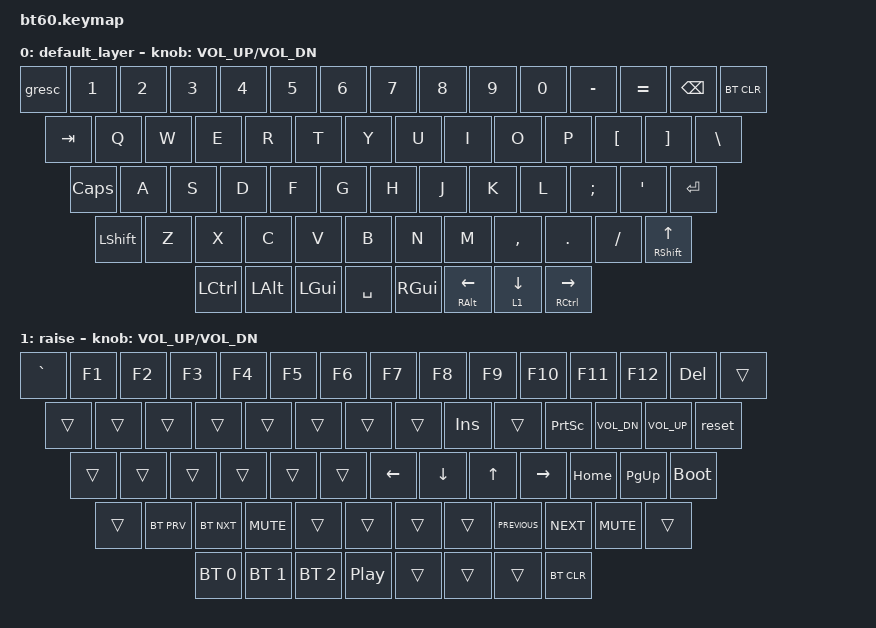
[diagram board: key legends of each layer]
#include <behaviors.dtsi>
#include <dt-bindings/zmk/keys.h>
#include <dt-bindings/zmk/bt.h>

/ {
	keymap {
		compatible = "zmk,keymap";

		default_layer {
				// ------------------------------------------------------------------------------------------
				// | ESC |  1  |  2  |  3  |  4  |  5  |  6  |  7  |  8  |  9  |  0  |  -  |  =  |   BKSP   | DEL
				// | TAB  |  Q  |  W  |  E  |  R  |  T  |  Y  |  U  |  I  |  O  |  P  |  [  |  ]  |   |    |
				// | CAPS  |  A  |  S  |  D  |  F  |  G  |  H  |  J  |  K  |  L  |  ;  |  '  |     ENTER    |
				// |  SHIFT    |  Z  |  X  |  C  |  V  |  B  |  N  |  M  |  ,  |  .  | /   |      SHIFT     |
				// |  CTL  |  ALT  |  GUI  |            SPACE               | GUI | ALT  |  MO1    |  CTRL    |
				// ------------------------------------------------------------------------------------------
			bindings = <
				&gresc &kp N1 &kp N2 &kp N3 &kp N4 &kp N5 &kp N6 &kp N7 &kp  N8   &kp  N9 &kp  N0  &kp MINUS &kp EQUAL &kp BSPC &bt BT_CLR
				&kp TAB  &kp Q  &kp W  &kp E  &kp R  &kp T  &kp Y  &kp U  &kp  I    &kp  O  &kp  P   &kp LBKT &kp RBKT  &kp BSLH
				&kp CLCK  &kp A  &kp S  &kp D  &kp F  &kp G  &kp H  &kp J  &kp  K    &kp  L  &kp SEMI &kp SQT           &kp RET
				&kp LSHFT  &kp Z  &kp X  &kp C  &kp V  &kp B  &kp N  &kp M  &kp COMMA &kp DOT &kp FSLH             &mt RSHFT UP
				&kp LCTRL  &kp LALT  &kp LGUI      &kp SPACE                          &kp RGUI &mt RALT LEFT  &lt 1 DOWN  &mt RCTRL RIGHT
			>;
			sensor-bindings = <&inc_dec_kp C_VOL_UP C_VOL_DN>;
		};
		raise {
			bindings = <
				&kp GRAVE &kp F1 &kp F2 &kp F3 &kp F4 &kp F5 &kp F6 &kp F7 &kp  F8   &kp  F9 &kp  F10  &kp F11 &kp F12   &kp DEL  &trans
				&trans &trans &trans &trans &trans &trans &trans &trans &kp INS &trans &kp PSCRN &kp C_VOL_DN &kp C_VOL_UP &reset
				&trans &trans &trans &trans &trans &trans &kp LEFT &kp DOWN &kp UP &kp RIGHT &kp HOME  &kp PG_UP   &bootloader
				&trans &bt BT_PRV &bt BT_NXT &kp C_MUTE &trans &trans &trans &trans &kp C_PREVIOUS  &kp C_NEXT &kp K_MUTE  &trans
				&bt BT_SEL 0 &bt BT_SEL 1  &bt BT_SEL 2     &kp C_PLAY_PAUSE              &trans   &trans   &trans &bt BT_CLR
			>;
			sensor-bindings = <&inc_dec_kp C_VOL_UP C_VOL_DN>;
		};
	};
};
